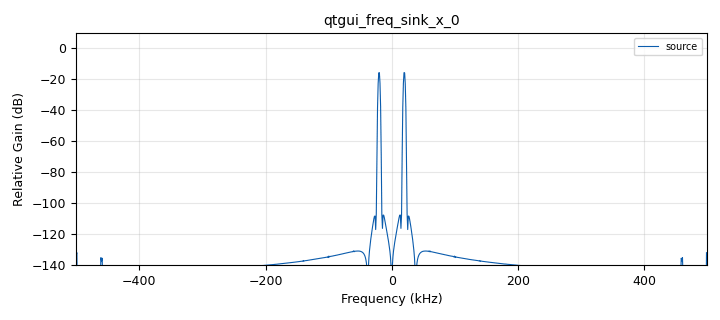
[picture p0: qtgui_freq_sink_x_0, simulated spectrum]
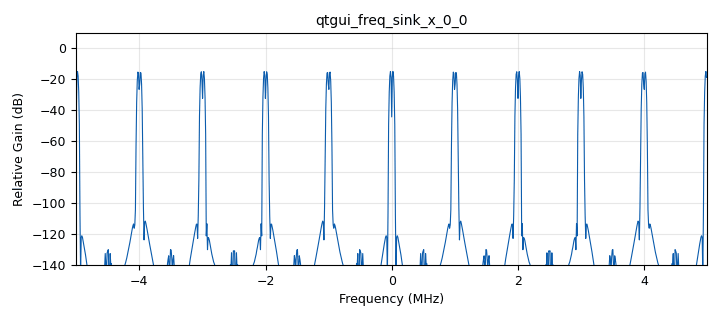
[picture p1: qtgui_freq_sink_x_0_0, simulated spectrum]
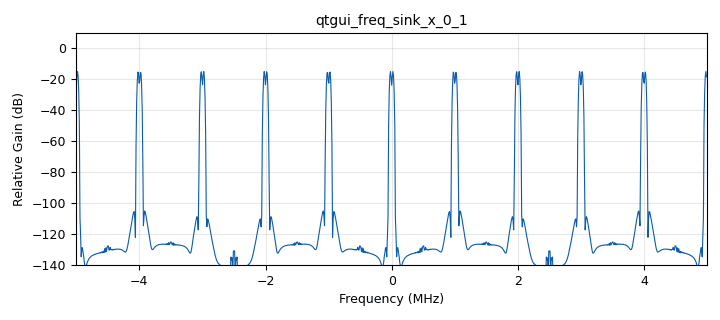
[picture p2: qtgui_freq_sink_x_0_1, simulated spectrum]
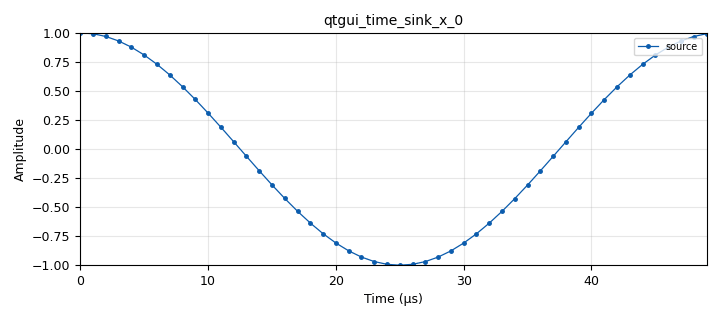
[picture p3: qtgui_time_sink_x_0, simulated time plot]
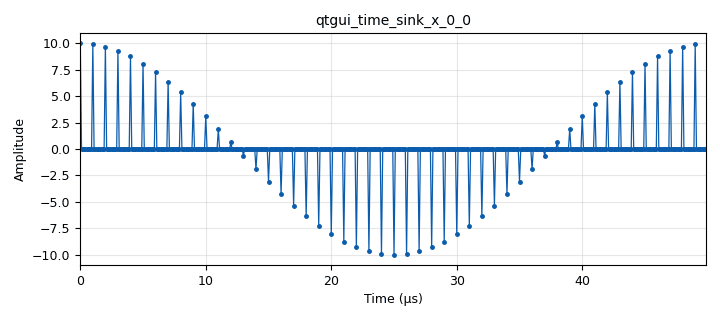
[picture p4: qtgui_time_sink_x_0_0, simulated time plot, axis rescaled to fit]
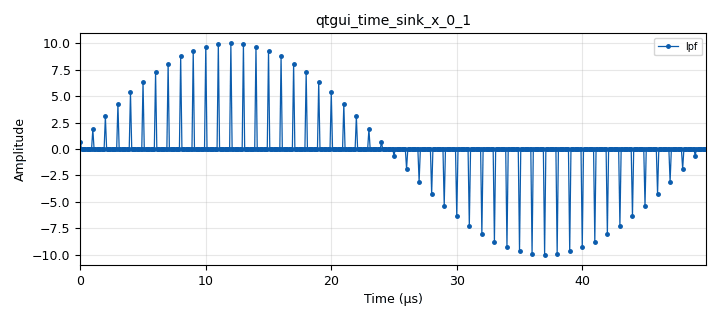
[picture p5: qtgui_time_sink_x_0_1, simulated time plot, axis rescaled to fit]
options:
  parameters:
    generate_options: qt_gui
    id: sampling
    output_language: python
    title: Not titled yet
  states: {}

blocks:
- name: freq
  id: variable_qtgui_range
  parameters:
    gui_hint: 0,0,1,2
    start: '0'
    step: '1'
    stop: 1.5e3
    value: '20'
  states: {}
- name: samp_rate
  id: variable
  parameters:
    value: '1000000'
  states: {}
- name: analog_sig_source_x_0
  id: analog_sig_source_x
  parameters:
    amp: '1'
    freq: freq*1000
    offset: '0'
    phase: '0'
    samp_rate: samp_rate
    type: float
    waveform: analog.GR_COS_WAVE
  states: {}
- name: blocks_throttle2_0
  id: blocks_throttle2
  parameters:
    samples_per_second: samp_rate
    type: float
  states: {}
- name: interp_fir_filter_xxx_0
  id: interp_fir_filter_xxx
  parameters:
    interp: '10'
    taps: '[10,0,0,0,0,0,0,0,0,0]'
    type: fff
  states: {}
- name: low_pass_filter_0
  id: low_pass_filter
  parameters:
    cutoff_freq: '500000'
    decim: '1'
    gain: '1'
    samp_rate: samp_rate
    type: fir_filter_fff
    width: '10000'
    win: window.WIN_HAMMING
  states: {}
- name: qtgui_freq_sink_x_0
  id: qtgui_freq_sink_x
  parameters:
    bw: samp_rate
    fc: '0'
    fftsize: '1024'
    gui_hint: 1,1,3,1
    label1: '"source"'
    type: float
  states: {}
- name: qtgui_freq_sink_x_0_0
  id: qtgui_freq_sink_x
  parameters:
    bw: samp_rate*10
    fc: '0'
    fftsize: '1024'
    gui_hint: 7,1,3,1
    type: float
  states: {}
- name: qtgui_freq_sink_x_0_1
  id: qtgui_freq_sink_x
  parameters:
    bw: samp_rate*10
    fc: '0'
    fftsize: '1024'
    gui_hint: 4,1,3,1
    type: float
  states: {}
- name: qtgui_time_sink_x_0
  id: qtgui_time_sink_x
  parameters:
    gui_hint: 1,0,3,1
    label1: source
    marker1: '0'
    size: '50'
    srate: samp_rate
    type: float
  states: {}
- name: qtgui_time_sink_x_0_0
  id: qtgui_time_sink_x
  parameters:
    gui_hint: 4,0,3,1
    marker1: '0'
    size: '500'
    srate: samp_rate*10
    type: float
  states: {}
- name: qtgui_time_sink_x_0_1
  id: qtgui_time_sink_x
  parameters:
    gui_hint: 7,0,3,1
    label1: lpf
    marker1: '0'
    size: '500'
    srate: samp_rate*10
    type: float
  states: {}

connections:
- [analog_sig_source_x_0, '0', blocks_throttle2_0, '0']
- [analog_sig_source_x_0, '0', interp_fir_filter_xxx_0, '0']
- [blocks_throttle2_0, '0', qtgui_freq_sink_x_0, '0']
- [blocks_throttle2_0, '0', qtgui_time_sink_x_0, '0']
- [interp_fir_filter_xxx_0, '0', low_pass_filter_0, '0']
- [interp_fir_filter_xxx_0, '0', qtgui_freq_sink_x_0_1, '0']
- [interp_fir_filter_xxx_0, '0', qtgui_time_sink_x_0_0, '0']
- [low_pass_filter_0, '0', qtgui_freq_sink_x_0_0, '0']
- [low_pass_filter_0, '0', qtgui_time_sink_x_0_1, '0']

metadata:
  file_format: 1
  grc_version: 3.10.9.2
